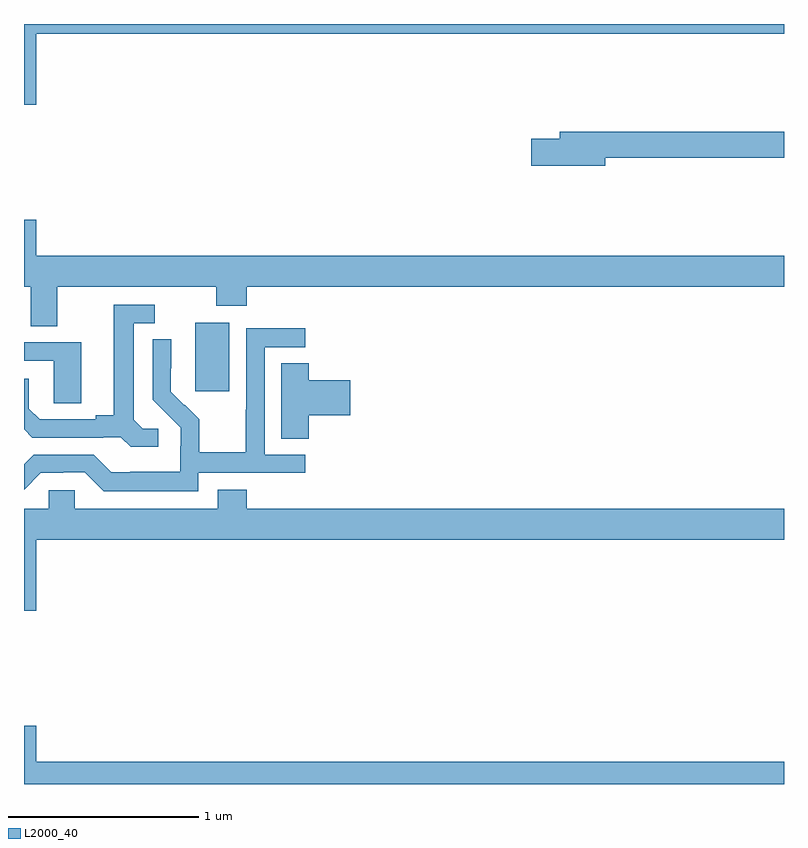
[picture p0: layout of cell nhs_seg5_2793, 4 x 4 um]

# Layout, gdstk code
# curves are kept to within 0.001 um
import gdstk
lib = gdstk.Library(unit=1e-6, precision=1e-09)
def R(c, l, rs):  # rectangles x0, y0, x1, y1
    for r in rs: c.add(gdstk.rectangle(r[:2], r[2:], *l))
def P(c, l, *ps):  # polygons
    for p in ps: c.add(gdstk.Polygon(p, *l))
L2000_40 = (2000, 40)

nhs_seg5_2793 = lib.new_cell('nhs_seg5_2793')
R(nhs_seg5_2793, L2000_40, [(273.902,866.865,274.081,867.226)])
P(nhs_seg5_2793, L2000_40, [(273.064,868.748),(277,868.748),(277,868.799),(273,868.799),(273,868.374),(273.064,868.374)],
  [(276.058,868.096),(277,868.096),(277,868.232),(275.819,868.232),(275.819,868.196),(275.67,868.196),(275.67,868.054),(276.058,868.054)],
  [(273.175,867.416),(274.012,867.416),(274.012,867.317),(274.172,867.317),(274.172,867.416),(277,867.416),(277,867.58),(273.064,867.58),(273.064,867.769),(273,867.769),(273,867.416),(273.035,867.416),(273.035,867.208),(273.175,867.208)],
  [(273.706,866.67),(273.624,866.67),(273.577,866.717),(273.577,867.225),(273.688,867.225),(273.688,867.321),(273.473,867.321),(273.473,866.741),(273.377,866.741),(273.377,866.718),(273.082,866.718),(273.025,866.775),(273.025,866.932),(273,866.932),(273,866.666),(273.044,866.622),(273.416,866.622),(273.416,866.625),(273.51,866.625),(273.562,866.573),(273.706,866.573)],
  [(273.918,866.436),(274.48,866.436),(274.48,866.532),(274.266,866.532),(274.266,867.099),(274.48,867.099),(274.48,867.198),(274.17,867.198),(274.17,866.768),(274.168,866.768),(274.168,866.545),(273.923,866.545),(273.923,866.719),(273.846,866.796),(273.843,866.793),(273.773,866.864),(273.774,867.14),(273.678,867.14),(273.678,866.822),(273.824,866.674),(273.824,866.577),(273.822,866.577),(273.822,866.443),(273.559,866.443),(273.559,866.439),(273.459,866.439),(273.366,866.532),(273.051,866.532),(273,866.481),(273,866.349),(273.087,866.436),(273.206,866.436),(273.206,866.439),(273.321,866.439),(273.421,866.339),(273.918,866.339)],
  [(273.301,867.123),(273,867.123),(273,867.027),(273.156,867.027),(273.156,866.803),(273.301,866.803)],
  [(274.499,866.741),(274.717,866.741),(274.717,866.924),(274.499,866.924),(274.499,867.014),(274.355,867.014),(274.355,866.617),(274.499,866.617)],
  [(273.064,866.084),(277,866.084),(277,866.248),(274.172,866.248),(274.172,866.347),(274.019,866.347),(274.019,866.248),(273.267,866.248),(273.267,866.346),(273.129,866.346),(273.129,866.248),(273,866.248),(273,865.71),(273.064,865.71)],
  [(277,864.916),(273.064,864.916),(273.064,865.105),(273,865.105),(273,864.799),(277,864.799)])

lib.write_gds('nhs_seg5_2793.gds')
